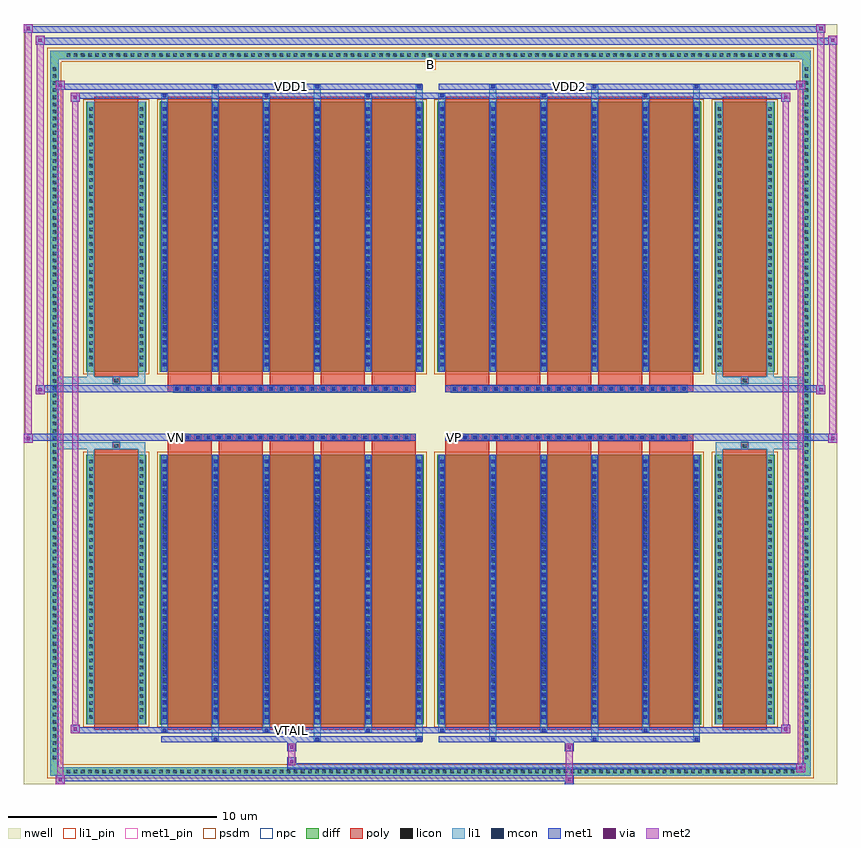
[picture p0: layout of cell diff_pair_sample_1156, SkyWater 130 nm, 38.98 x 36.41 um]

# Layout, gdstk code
import gdstk
lib = gdstk.Library(unit=1e-6, precision=5e-09)
def R(c, l, rs):  # rectangles x0, y0, x1, y1
    for r in rs: c.add(gdstk.rectangle(r[:2], r[2:], *l))
def A(c, l, x, y, w, h, nx, ny, dx, dy):  # array of equal rectangles
    R(c, l, [(x+i*dx, y+j*dy, x+i*dx+w, y+j*dy+h) for i in range(nx) for j in range(ny)])
def P(c, l, *ps):  # polygons
    for p in ps: c.add(gdstk.Polygon(p, *l))
nwell = (64, 20)
diff = (65, 20)
poly = (66, 20)
licon = (66, 44)
li1_pin = (67, 16)
li1 = (67, 20)
mcon = (67, 44)
met1_pin = (68, 16)
met1 = (68, 20)
via = (68, 44)
met2 = (69, 20)
psdm = (94, 20)
npc = (95, 20)

diff_pair_sample_1156 = lib.new_cell('diff_pair_sample_1156')
R(diff_pair_sample_1156, nwell, [(-19.49,-17.77,19.49,18.64), (-16.81,-15.96,-0.01,-0.8), (0.01,-15.96,16.81,-0.8), (-16.81,0.8,-0.01,15.96), (0.01,0.8,16.81,15.96)])
A(diff_pair_sample_1156, diff, -17.545, -17.37, 0.41, 0.41, 103, 2, 0.34, 34.33)
A(diff_pair_sample_1156, diff, -18.22, -16.695, 0.41, 0.41, 1, 98, 0, 0.34)
A(diff_pair_sample_1156, diff, 17.81, -16.695, 0.41, 0.41, 1, 98, 0, 0.34)
R(diff_pair_sample_1156, diff, [(-17.545,-17.37,17.545,-16.96), (-18.22,-16.695,-17.81,16.695), (17.81,-16.695,18.22,16.695), (-16.5,-14.915,-13.61,-1.985), (-12.97,-14.915,-0.32,-1.985), (0.32,-14.915,12.97,-1.985), (13.61,-14.915,16.5,-1.985), (-16.5,1.985,-13.61,14.915), (-12.97,1.985,-0.32,14.915), (0.32,1.985,12.97,14.915), (13.61,1.985,16.5,14.915), (-17.545,16.96,17.545,17.37)])
P(diff_pair_sample_1156, diff, [(18.22,17.37),(-18.22,17.37),(-18.22,-16.96),(-17.81,-16.96),(-17.81,16.96),(17.81,16.96),(17.81,-16.96),(-17.81,-16.96),(-18.22,-16.96),(-18.22,-17.37),(18.22,-17.37)])
A(diff_pair_sample_1156, poly, -12.58, -15.165, 2.11, 13.43, 5, 2, 2.44, 16.9)
A(diff_pair_sample_1156, poly, 0.71, -15.165, 2.11, 13.43, 5, 2, 2.44, 16.9)
A(diff_pair_sample_1156, poly, -12.58, -1.735, 2.11, 0.405, 5, 2, 2.44, 3.065)
A(diff_pair_sample_1156, poly, 0.71, -1.735, 2.11, 0.405, 5, 2, 2.44, 3.065)
A(diff_pair_sample_1156, poly, -12.31, -1.33, 0.33, 0.33, 23, 2, 0.5, 2.33)
A(diff_pair_sample_1156, poly, 0.98, -1.33, 0.33, 0.33, 23, 2, 0.5, 2.33)
R(diff_pair_sample_1156, poly, [(-16.11,-15.165,-14,-1.735), (14,-15.165,16.11,-1.735), (-15.22,-1.735,-14.89,-1.405), (-15.22,-1.735,-14.89,-1.405), (14.89,-1.735,15.22,-1.405), (14.89,-1.735,15.22,-1.405), (-12.58,-1.33,-0.71,-1), (0.71,-1.33,12.58,-1), (-12.58,1,-0.71,1.33), (0.71,1,12.58,1.33), (-15.22,1.405,-14.89,1.735), (-15.22,1.405,-14.89,1.735), (14.89,1.405,15.22,1.735), (14.89,1.405,15.22,1.735), (-16.11,1.735,-14,15.165), (14,1.735,16.11,15.165)])
A(diff_pair_sample_1156, licon, -17.425, -17.25, 0.17, 0.17, 103, 2, 0.34, 34.33)
A(diff_pair_sample_1156, licon, -18.1, -16.575, 0.17, 0.17, 1, 98, 0, 0.34)
A(diff_pair_sample_1156, licon, 17.93, -16.575, 0.17, 0.17, 1, 98, 0, 0.34)
A(diff_pair_sample_1156, licon, -16.36, -14.655, 0.17, 0.17, 1, 37, 0, 0.34)
A(diff_pair_sample_1156, licon, -13.92, -14.655, 0.17, 0.17, 1, 37, 0, 0.34)
A(diff_pair_sample_1156, licon, -12.83, -14.655, 0.17, 0.17, 6, 37, 2.44, 0.34)
A(diff_pair_sample_1156, licon, 0.46, -14.655, 0.17, 0.17, 6, 37, 2.44, 0.34)
A(diff_pair_sample_1156, licon, 13.75, -14.655, 0.17, 0.17, 1, 37, 0, 0.34)
A(diff_pair_sample_1156, licon, 16.19, -14.655, 0.17, 0.17, 1, 37, 0, 0.34)
A(diff_pair_sample_1156, licon, -12.23, -1.25, 0.17, 0.17, 23, 2, 0.5, 2.33)
A(diff_pair_sample_1156, licon, 1.06, -1.25, 0.17, 0.17, 23, 2, 0.5, 2.33)
A(diff_pair_sample_1156, licon, -16.36, 2.245, 0.17, 0.17, 1, 37, 0, 0.34)
A(diff_pair_sample_1156, licon, -13.92, 2.245, 0.17, 0.17, 1, 37, 0, 0.34)
A(diff_pair_sample_1156, licon, -12.83, 2.245, 0.17, 0.17, 6, 37, 2.44, 0.34)
A(diff_pair_sample_1156, licon, 0.46, 2.245, 0.17, 0.17, 6, 37, 2.44, 0.34)
A(diff_pair_sample_1156, licon, 13.75, 2.245, 0.17, 0.17, 1, 37, 0, 0.34)
A(diff_pair_sample_1156, licon, 16.19, 2.245, 0.17, 0.17, 1, 37, 0, 0.34)
R(diff_pair_sample_1156, licon, [(-15.14,-1.655,-14.97,-1.485), (14.97,-1.655,15.14,-1.485), (-15.14,1.485,-14.97,1.655), (14.97,1.485,15.14,1.655)])
R(diff_pair_sample_1156, li1_pin, [(-0.25,16.46,0.25,16.96)])
A(diff_pair_sample_1156, li1, -17.505, -17.33, 0.33, 0.33, 103, 2, 0.34, 34.33)
A(diff_pair_sample_1156, li1, -18.18, -16.655, 0.33, 0.33, 1, 98, 0, 0.34)
A(diff_pair_sample_1156, li1, 17.85, -16.655, 0.33, 0.33, 1, 98, 0, 0.34)
A(diff_pair_sample_1156, li1, -10.47, -15.72, 0.33, 0.805, 3, 2, 4.88, 30.635)
A(diff_pair_sample_1156, li1, -10.39, -15.72, 0.17, 0.17, 3, 2, 4.88, 31.27)
A(diff_pair_sample_1156, li1, 2.82, -15.72, 0.33, 0.805, 3, 2, 4.88, 30.635)
A(diff_pair_sample_1156, li1, 2.9, -15.72, 0.17, 0.17, 3, 2, 4.88, 31.27)
A(diff_pair_sample_1156, li1, -12.91, -15.29, 0.33, 0.375, 3, 2, 4.88, 30.205)
A(diff_pair_sample_1156, li1, -12.83, -15.29, 0.17, 0.17, 3, 2, 4.88, 30.41)
A(diff_pair_sample_1156, li1, 0.38, -15.29, 0.33, 0.375, 3, 2, 4.88, 30.205)
A(diff_pair_sample_1156, li1, 0.46, -15.29, 0.17, 0.17, 3, 2, 4.88, 30.41)
A(diff_pair_sample_1156, li1, -12.91, -14.915, 0.33, 12.93, 6, 2, 2.44, 16.9)
A(diff_pair_sample_1156, li1, 0.38, -14.915, 0.33, 12.93, 6, 2, 2.44, 16.9)
A(diff_pair_sample_1156, li1, -16.44, -14.735, 0.33, 0.33, 1, 37, 0, 0.34)
A(diff_pair_sample_1156, li1, -14, -14.735, 0.33, 0.33, 1, 37, 0, 0.34)
A(diff_pair_sample_1156, li1, -12.91, -14.735, 0.33, 0.33, 6, 37, 2.44, 0.34)
A(diff_pair_sample_1156, li1, 0.38, -14.735, 0.33, 0.33, 6, 37, 2.44, 0.34)
A(diff_pair_sample_1156, li1, 13.67, -14.735, 0.33, 0.33, 1, 37, 0, 0.34)
A(diff_pair_sample_1156, li1, 16.11, -14.735, 0.33, 0.33, 1, 37, 0, 0.34)
A(diff_pair_sample_1156, li1, -12.83, -14.655, 0.17, 0.17, 6, 35, 2.44, 0.36)
A(diff_pair_sample_1156, li1, -12.83, -14.655, 0.17, 12.41, 6, 2, 2.44, 16.9)
A(diff_pair_sample_1156, li1, 0.46, -14.655, 0.17, 0.17, 6, 35, 2.44, 0.36)
A(diff_pair_sample_1156, li1, 0.46, -14.655, 0.17, 12.41, 6, 2, 2.44, 16.9)
A(diff_pair_sample_1156, li1, -12.31, -1.33, 0.33, 0.33, 23, 2, 0.5, 2.33)
A(diff_pair_sample_1156, li1, 0.98, -1.33, 0.33, 0.33, 23, 2, 0.5, 2.33)
A(diff_pair_sample_1156, li1, -16.44, 2.165, 0.33, 0.33, 1, 37, 0, 0.34)
A(diff_pair_sample_1156, li1, -14, 2.165, 0.33, 0.33, 1, 37, 0, 0.34)
A(diff_pair_sample_1156, li1, -12.91, 2.165, 0.33, 0.33, 6, 37, 2.44, 0.34)
A(diff_pair_sample_1156, li1, 0.38, 2.165, 0.33, 0.33, 6, 37, 2.44, 0.34)
A(diff_pair_sample_1156, li1, 13.67, 2.165, 0.33, 0.33, 1, 37, 0, 0.34)
A(diff_pair_sample_1156, li1, 16.11, 2.165, 0.33, 0.33, 1, 37, 0, 0.34)
A(diff_pair_sample_1156, li1, -12.83, 2.245, 0.17, 0.17, 6, 35, 2.44, 0.36)
A(diff_pair_sample_1156, li1, 0.46, 2.245, 0.17, 0.17, 6, 35, 2.44, 0.36)
R(diff_pair_sample_1156, li1, [(-18.22,-17.37,-17.81,-16.96), (-18.22,-17.37,-17.81,-16.96), (-17.81,-17.37,17.81,-16.96), (17.81,-17.37,18.22,-16.96), (17.81,-17.37,18.22,-16.96), (-18.22,-16.96,-17.81,16.96), (17.81,-16.96,18.22,16.96), (-16.44,-14.915,-16.11,-1.985), (-14,-14.915,-13.67,-1.985), (13.67,-14.915,14,-1.985), (16.11,-14.915,16.44,-1.985), (-16.44,-1.985,-16.11,-1.405), (-14,-1.985,-13.67,-1.405), (13.67,-1.985,14,-1.405), (16.11,-1.985,16.44,-1.405), (-18.22,-1.735,-15.22,-1.405), (-16.44,-1.735,-15.22,-1.405), (-15.22,-1.735,-14.89,-1.405), (-14.89,-1.735,-13.67,-1.405), (13.67,-1.735,14.89,-1.405), (14.89,-1.735,15.22,-1.405), (14.89,-1.735,18.22,-1.405), (15.22,-1.735,16.44,-1.405), (-18.22,1.405,-15.22,1.735), (-16.44,1.405,-15.22,1.735), (-16.44,1.405,-16.11,1.985), (-15.22,1.405,-14.89,1.735), (-14.89,1.405,-13.67,1.735), (-14,1.405,-13.67,1.985), (13.67,1.405,14.89,1.735), (13.67,1.405,14,1.985), (14.89,1.405,15.22,1.735), (14.89,1.405,18.22,1.735), (15.22,1.405,16.44,1.735), (16.11,1.405,16.44,1.985), (-16.44,1.985,-16.11,14.915), (-14,1.985,-13.67,14.915), (13.67,1.985,14,14.915), (16.11,1.985,16.44,14.915), (-18.22,16.96,-17.81,17.37), (-18.22,16.96,-17.81,17.37), (-17.81,16.96,17.81,17.37), (17.81,16.96,18.22,17.37), (17.81,16.96,18.22,17.37)])
A(diff_pair_sample_1156, mcon, -10.39, -15.72, 0.17, 0.17, 3, 2, 4.88, 31.27)
A(diff_pair_sample_1156, mcon, 2.9, -15.72, 0.17, 0.17, 3, 2, 4.88, 31.27)
A(diff_pair_sample_1156, mcon, -12.83, -15.29, 0.17, 0.17, 3, 2, 4.88, 30.41)
A(diff_pair_sample_1156, mcon, 0.46, -15.29, 0.17, 0.17, 3, 2, 4.88, 30.41)
A(diff_pair_sample_1156, mcon, -12.83, -14.655, 0.17, 0.17, 6, 35, 2.44, 0.36)
A(diff_pair_sample_1156, mcon, 0.46, -14.655, 0.17, 0.17, 6, 35, 2.44, 0.36)
A(diff_pair_sample_1156, mcon, -12.23, -1.25, 0.17, 0.17, 23, 2, 0.5, 2.33)
A(diff_pair_sample_1156, mcon, 1.06, -1.25, 0.17, 0.17, 23, 2, 0.5, 2.33)
A(diff_pair_sample_1156, mcon, -12.83, 2.245, 0.17, 0.17, 6, 35, 2.44, 0.36)
A(diff_pair_sample_1156, mcon, 0.46, 2.245, 0.17, 0.17, 6, 35, 2.44, 0.36)
R(diff_pair_sample_1156, met1_pin, [(-6.78,-15.33,-6.51,-15.06), (-12.28,-1.29,-12.01,-1.02), (1.01,-1.29,1.28,-1.02), (-6.78,15.51,-6.51,15.78), (6.51,15.51,6.78,15.78)])
A(diff_pair_sample_1156, met1, -10.45, -15.78, 0.29, 0.29, 3, 2, 4.88, 31.27)
A(diff_pair_sample_1156, met1, 2.84, -15.78, 0.29, 0.29, 3, 2, 4.88, 31.27)
A(diff_pair_sample_1156, met1, -12.89, -15.35, 0.29, 0.29, 3, 2, 4.88, 30.41)
A(diff_pair_sample_1156, met1, 0.4, -15.35, 0.29, 0.29, 3, 2, 4.88, 30.41)
A(diff_pair_sample_1156, met1, -12.89, -14.915, 0.29, 12.93, 6, 2, 2.44, 16.9)
A(diff_pair_sample_1156, met1, 0.4, -14.915, 0.29, 12.93, 6, 2, 2.44, 16.9)
A(diff_pair_sample_1156, met1, -12.89, -14.715, 0.29, 0.29, 6, 35, 2.44, 0.36)
A(diff_pair_sample_1156, met1, 0.4, -14.715, 0.29, 0.29, 6, 35, 2.44, 0.36)
A(diff_pair_sample_1156, met1, -12.29, -1.31, 0.29, 0.29, 23, 2, 0.5, 2.33)
A(diff_pair_sample_1156, met1, 1, -1.31, 0.29, 0.29, 23, 2, 0.5, 2.33)
A(diff_pair_sample_1156, met1, -12.89, 2.185, 0.29, 0.29, 6, 35, 2.44, 0.36)
A(diff_pair_sample_1156, met1, 0.4, 2.185, 0.29, 0.29, 6, 35, 2.44, 0.36)
R(diff_pair_sample_1156, met1, [(-17.95,-17.77,-17.52,-17.34), (6.43,-17.77,6.86,-17.34), (-17.95,-17.63,6.86,-17.34), (17.52,-17.2,17.95,-16.77), (-6.86,-17.06,17.95,-16.77), (-6.86,-16.92,-6.43,-16.49), (-6.86,-16.21,-6.43,-15.78), (6.43,-16.21,6.86,-15.78), (-12.89,-15.78,-0.4,-15.49), (0.4,-15.78,12.89,-15.49), (-17.24,-15.35,-16.81,-14.92), (-17.24,-15.35,-12.89,-15.06), (-12.89,-15.35,-0.4,-15.06), (-0.4,-15.35,0.4,-15.06), (0.4,-15.35,12.89,-15.06), (12.89,-15.35,17.24,-15.06), (16.81,-15.35,17.24,-14.92), (-19.49,-1.43,-19.06,-1), (19.06,-1.43,19.49,-1), (-19.49,-1.33,-0.71,-1), (-12.58,-1.33,-0.71,-1), (0.71,-1.33,12.58,-1), (0.71,-1.33,19.49,-1), (-18.92,0.9,-18.49,1.33), (18.49,0.9,18.92,1.33), (-18.92,1,-12.58,1.33), (-12.58,1,-0.71,1.33), (0.71,1,12.58,1.33), (12.58,1,18.92,1.33), (-17.24,14.92,-16.81,15.35), (16.81,14.92,17.24,15.35), (-17.24,15.06,-12.89,15.35), (-12.89,15.06,-0.4,15.35), (-0.4,15.06,0.4,15.35), (0.4,15.06,12.89,15.35), (12.89,15.06,17.24,15.35), (-17.95,15.49,-17.52,15.92), (-17.95,15.49,-12.89,15.78), (-12.89,15.49,-0.4,15.78), (0.4,15.49,12.89,15.78), (12.89,15.49,17.95,15.78), (17.52,15.49,17.95,15.92), (-18.92,17.64,-18.49,18.07), (-18.92,17.64,-16.81,17.97), (-16.81,17.64,16.81,17.97), (16.81,17.64,19.49,17.97), (19.06,17.64,19.49,18.07), (-19.49,18.21,-19.06,18.64), (-19.49,18.21,-16.81,18.54), (-16.81,18.21,16.81,18.54), (16.81,18.21,18.92,18.54), (18.49,18.21,18.92,18.64)])
R(diff_pair_sample_1156, via, [(-17.81,-17.63,-17.66,-17.48), (6.57,-17.63,6.72,-17.48), (17.66,-17.06,17.81,-16.91), (-6.72,-16.78,-6.57,-16.63), (-6.72,-16.07,-6.57,-15.92), (6.57,-16.07,6.72,-15.92), (-17.1,-15.21,-16.95,-15.06), (16.95,-15.21,17.1,-15.06), (-19.35,-1.29,-19.2,-1.14), (19.2,-1.29,19.35,-1.14), (-18.78,1.04,-18.63,1.19), (18.63,1.04,18.78,1.19), (-17.1,15.06,-16.95,15.21), (16.95,15.06,17.1,15.21), (-17.81,15.63,-17.66,15.78), (17.66,15.63,17.81,15.78), (-18.78,17.78,-18.63,17.93), (19.2,17.78,19.35,17.93), (-19.35,18.35,-19.2,18.5), (18.63,18.35,18.78,18.5)])
R(diff_pair_sample_1156, met2, [(-17.95,-17.77,-17.52,-17.34), (-17.88,-17.77,-17.59,15.92), (-17.59,-17.77,-17.52,-17.34), (-17.9,-17.72,-17.57,-17.39), (6.48,-17.72,6.81,-17.39), (6.48,-17.39,6.81,-16.16), (17.52,-17.2,17.95,-16.77), (17.59,-17.2,17.88,15.92), (17.88,-17.2,17.95,-16.77), (17.57,-17.15,17.9,-16.82), (-6.81,-16.87,-6.48,-16.54), (-6.81,-16.54,-6.48,-16.16), (-6.81,-16.16,-6.48,-15.83), (6.48,-16.16,6.81,-15.83), (-17.24,-15.35,-16.81,-14.92), (-17.17,-15.35,-16.88,15.35), (-16.88,-15.35,-16.81,-14.92), (16.81,-15.35,17.24,-14.92), (16.88,-15.35,17.17,15.35), (17.17,-15.35,17.24,-14.92), (-17.19,-15.3,-16.86,-14.97), (16.86,-15.3,17.19,-14.97), (-19.49,-1.43,-19.06,-1), (-19.44,-1.43,-19.11,18.64), (-19.11,-1.43,-19.06,-1), (19.06,-1.43,19.49,-1), (19.11,-1.43,19.44,18.07), (19.44,-1.43,19.49,-1), (-19.44,-1.38,-19.11,-1.05), (19.11,-1.38,19.44,-1.05), (-18.92,0.9,-18.49,1.33), (-18.87,0.9,-18.54,18.07), (-18.54,0.9,-18.49,1.33), (18.49,0.9,18.92,1.33), (18.54,0.9,18.87,18.64), (18.87,0.9,18.92,1.33), (-18.87,0.95,-18.54,1.28), (18.54,0.95,18.87,1.28), (-17.24,14.92,-16.81,15.35), (-16.88,14.92,-16.81,15.35), (16.81,14.92,17.24,15.35), (17.17,14.92,17.24,15.35), (-17.19,14.97,-16.86,15.3), (16.86,14.97,17.19,15.3), (-17.95,15.49,-17.52,15.92), (-17.59,15.49,-17.52,15.92), (17.52,15.49,17.95,15.92), (17.88,15.49,17.95,15.92), (-17.9,15.54,-17.57,15.87), (17.57,15.54,17.9,15.87), (-18.92,17.64,-18.49,18.07), (-18.54,17.64,-18.49,18.07), (19.06,17.64,19.49,18.07), (19.44,17.64,19.49,18.07), (-18.87,17.69,-18.54,18.02), (19.11,17.69,19.44,18.02), (-19.49,18.21,-19.06,18.64), (-19.11,18.21,-19.06,18.64), (18.49,18.21,18.92,18.64), (18.87,18.21,18.92,18.64), (-19.44,18.26,-19.11,18.59), (18.54,18.26,18.87,18.59)])
R(diff_pair_sample_1156, psdm, [(-16.63,-15.045,-13.48,-1.855), (-13.1,-15.045,-0.19,-1.855), (0.19,-15.045,13.1,-1.855), (13.48,-15.045,16.63,-1.855), (-16.63,1.855,-13.48,15.045), (-13.1,1.855,-0.19,15.045), (0.19,1.855,13.1,15.045), (13.48,1.855,16.63,15.045)])
P(diff_pair_sample_1156, psdm, [(18.35,17.5),(-18.35,17.5),(-18.35,-16.83),(-17.68,-16.83),(-17.68,16.83),(17.68,16.83),(17.68,-16.83),(-17.68,-16.83),(-18.35,-16.83),(-18.35,-17.5),(18.35,-17.5)])
A(diff_pair_sample_1156, npc, -12.33, -1.35, 0.37, 0.37, 23, 2, 0.5, 2.33)
A(diff_pair_sample_1156, npc, 0.96, -1.35, 0.37, 0.37, 23, 2, 0.5, 2.33)
R(diff_pair_sample_1156, npc, [(-15.24,-1.755,-14.87,-1.385), (14.87,-1.755,15.24,-1.385), (-12.33,-1.35,-11.46,-0.98), (-12.33,-1.35,-11.46,-0.98), (-11.83,-1.35,-10.96,-0.98), (-11.83,-1.35,-10.96,-0.98), (-11.33,-1.35,-10.46,-0.98), (-11.33,-1.35,-10.46,-0.98), (-10.83,-1.35,-9.96,-0.98), (-10.83,-1.35,-9.96,-0.98), (-10.33,-1.35,-9.46,-0.98), (-10.33,-1.35,-9.46,-0.98), (-9.83,-1.35,-8.96,-0.98), (-9.83,-1.35,-8.96,-0.98), (-9.33,-1.35,-8.46,-0.98), (-9.33,-1.35,-8.46,-0.98), (-8.83,-1.35,-7.96,-0.98), (-8.83,-1.35,-7.96,-0.98), (-8.33,-1.35,-7.46,-0.98), (-8.33,-1.35,-7.46,-0.98), (-7.83,-1.35,-6.96,-0.98), (-7.83,-1.35,-6.96,-0.98), (-7.33,-1.35,-6.46,-0.98), (-7.33,-1.35,-6.46,-0.98), (-6.83,-1.35,-5.96,-0.98), (-6.83,-1.35,-5.96,-0.98), (-6.33,-1.35,-5.46,-0.98), (-6.33,-1.35,-5.46,-0.98), (-5.83,-1.35,-4.96,-0.98), (-5.83,-1.35,-4.96,-0.98), (-5.33,-1.35,-4.46,-0.98), (-5.33,-1.35,-4.46,-0.98), (-4.83,-1.35,-3.96,-0.98), (-4.83,-1.35,-3.96,-0.98), (-4.33,-1.35,-3.46,-0.98), (-4.33,-1.35,-3.46,-0.98), (-3.83,-1.35,-2.96,-0.98), (-3.83,-1.35,-2.96,-0.98), (-3.33,-1.35,-2.46,-0.98), (-3.33,-1.35,-2.46,-0.98), (-2.83,-1.35,-1.96,-0.98), (-2.83,-1.35,-1.96,-0.98), (-2.33,-1.35,-1.46,-0.98), (-2.33,-1.35,-1.46,-0.98), (-1.83,-1.35,-0.96,-0.98), (-1.83,-1.35,-0.96,-0.98), (0.96,-1.35,1.83,-0.98), (0.96,-1.35,1.83,-0.98), (1.46,-1.35,2.33,-0.98), (1.46,-1.35,2.33,-0.98), (1.96,-1.35,2.83,-0.98), (1.96,-1.35,2.83,-0.98), (2.46,-1.35,3.33,-0.98), (2.46,-1.35,3.33,-0.98), (2.96,-1.35,3.83,-0.98), (2.96,-1.35,3.83,-0.98), (3.46,-1.35,4.33,-0.98), (3.46,-1.35,4.33,-0.98), (3.96,-1.35,4.83,-0.98), (3.96,-1.35,4.83,-0.98), (4.46,-1.35,5.33,-0.98), (4.46,-1.35,5.33,-0.98), (4.96,-1.35,5.83,-0.98), (4.96,-1.35,5.83,-0.98), (5.46,-1.35,6.33,-0.98), (5.46,-1.35,6.33,-0.98), (5.96,-1.35,6.83,-0.98), (5.96,-1.35,6.83,-0.98), (6.46,-1.35,7.33,-0.98), (6.46,-1.35,7.33,-0.98), (6.96,-1.35,7.83,-0.98), (6.96,-1.35,7.83,-0.98), (7.46,-1.35,8.33,-0.98), (7.46,-1.35,8.33,-0.98), (7.96,-1.35,8.83,-0.98), (7.96,-1.35,8.83,-0.98), (8.46,-1.35,9.33,-0.98), (8.46,-1.35,9.33,-0.98), (8.96,-1.35,9.83,-0.98), (8.96,-1.35,9.83,-0.98), (9.46,-1.35,10.33,-0.98), (9.46,-1.35,10.33,-0.98), (9.96,-1.35,10.83,-0.98), (9.96,-1.35,10.83,-0.98), (10.46,-1.35,11.33,-0.98), (10.46,-1.35,11.33,-0.98), (10.96,-1.35,11.83,-0.98), (10.96,-1.35,11.83,-0.98), (11.46,-1.35,12.33,-0.98), (11.46,-1.35,12.33,-0.98), (-12.33,0.98,-11.46,1.35), (-12.33,0.98,-11.46,1.35), (-11.83,0.98,-10.96,1.35), (-11.83,0.98,-10.96,1.35), (-11.33,0.98,-10.46,1.35), (-11.33,0.98,-10.46,1.35), (-10.83,0.98,-9.96,1.35), (-10.83,0.98,-9.96,1.35), (-10.33,0.98,-9.46,1.35), (-10.33,0.98,-9.46,1.35), (-9.83,0.98,-8.96,1.35), (-9.83,0.98,-8.96,1.35), (-9.33,0.98,-8.46,1.35), (-9.33,0.98,-8.46,1.35), (-8.83,0.98,-7.96,1.35), (-8.83,0.98,-7.96,1.35), (-8.33,0.98,-7.46,1.35), (-8.33,0.98,-7.46,1.35), (-7.83,0.98,-6.96,1.35), (-7.83,0.98,-6.96,1.35), (-7.33,0.98,-6.46,1.35), (-7.33,0.98,-6.46,1.35), (-6.83,0.98,-5.96,1.35), (-6.83,0.98,-5.96,1.35), (-6.33,0.98,-5.46,1.35), (-6.33,0.98,-5.46,1.35), (-5.83,0.98,-4.96,1.35), (-5.83,0.98,-4.96,1.35), (-5.33,0.98,-4.46,1.35), (-5.33,0.98,-4.46,1.35), (-4.83,0.98,-3.96,1.35), (-4.83,0.98,-3.96,1.35), (-4.33,0.98,-3.46,1.35), (-4.33,0.98,-3.46,1.35), (-3.83,0.98,-2.96,1.35), (-3.83,0.98,-2.96,1.35), (-3.33,0.98,-2.46,1.35), (-3.33,0.98,-2.46,1.35), (-2.83,0.98,-1.96,1.35), (-2.83,0.98,-1.96,1.35), (-2.33,0.98,-1.46,1.35), (-2.33,0.98,-1.46,1.35), (-1.83,0.98,-0.96,1.35), (-1.83,0.98,-0.96,1.35), (0.96,0.98,1.83,1.35), (0.96,0.98,1.83,1.35), (1.46,0.98,2.33,1.35), (1.46,0.98,2.33,1.35), (1.96,0.98,2.83,1.35), (1.96,0.98,2.83,1.35), (2.46,0.98,3.33,1.35), (2.46,0.98,3.33,1.35), (2.96,0.98,3.83,1.35), (2.96,0.98,3.83,1.35), (3.46,0.98,4.33,1.35), (3.46,0.98,4.33,1.35), (3.96,0.98,4.83,1.35), (3.96,0.98,4.83,1.35), (4.46,0.98,5.33,1.35), (4.46,0.98,5.33,1.35), (4.96,0.98,5.83,1.35), (4.96,0.98,5.83,1.35), (5.46,0.98,6.33,1.35), (5.46,0.98,6.33,1.35), (5.96,0.98,6.83,1.35), (5.96,0.98,6.83,1.35), (6.46,0.98,7.33,1.35), (6.46,0.98,7.33,1.35), (6.96,0.98,7.83,1.35), (6.96,0.98,7.83,1.35), (7.46,0.98,8.33,1.35), (7.46,0.98,8.33,1.35), (7.96,0.98,8.83,1.35), (7.96,0.98,8.83,1.35), (8.46,0.98,9.33,1.35), (8.46,0.98,9.33,1.35), (8.96,0.98,9.83,1.35), (8.96,0.98,9.83,1.35), (9.46,0.98,10.33,1.35), (9.46,0.98,10.33,1.35), (9.96,0.98,10.83,1.35), (9.96,0.98,10.83,1.35), (10.46,0.98,11.33,1.35), (10.46,0.98,11.33,1.35), (10.96,0.98,11.83,1.35), (10.96,0.98,11.83,1.35), (11.46,0.98,12.33,1.35), (11.46,0.98,12.33,1.35), (-15.24,1.385,-14.87,1.755), (14.87,1.385,15.24,1.755)])
diff_pair_sample_1156.add(gdstk.Label('VTAIL', (-6.645,-15.195), layer=68, texttype=5))
diff_pair_sample_1156.add(gdstk.Label('VN', (-12.145,-1.155), layer=68, texttype=5))
diff_pair_sample_1156.add(gdstk.Label('VP', (1.145,-1.155), layer=68, texttype=5))
diff_pair_sample_1156.add(gdstk.Label('B', (0,16.71), layer=67, texttype=5))
diff_pair_sample_1156.add(gdstk.Label('VDD2', (6.645,15.645), layer=68, texttype=5))
diff_pair_sample_1156.add(gdstk.Label('VDD1', (-6.645,15.645), layer=68, texttype=5))

lib.write_gds('diff_pair_sample_1156.gds')
